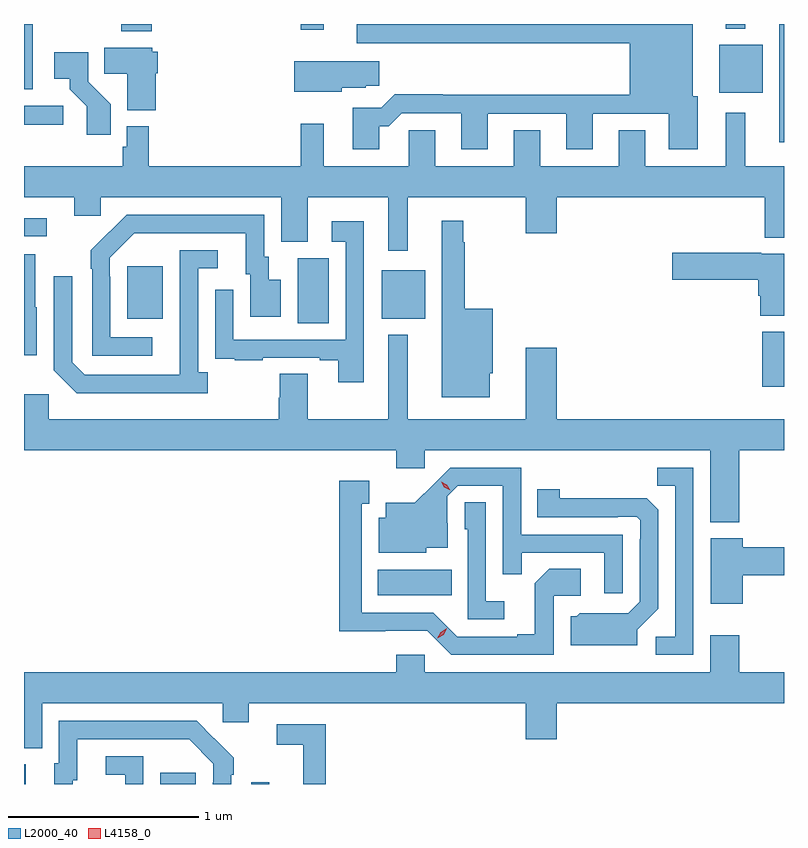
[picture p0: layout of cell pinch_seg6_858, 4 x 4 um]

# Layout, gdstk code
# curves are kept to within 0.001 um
import gdstk
lib = gdstk.Library(unit=1e-6, precision=1e-09)
def R(c, l, rs):  # rectangles x0, y0, x1, y1
    for r in rs: c.add(gdstk.rectangle(r[:2], r[2:], *l))
def P(c, l, *ps):  # polygons
    for p in ps: c.add(gdstk.Polygon(p, *l))
L2000_40 = (2000, 40)
L4158_0 = (4158, 0)

pinch_seg6_858 = lib.new_cell('pinch_seg6_858')
R(pinch_seg6_858, L2000_40, [(138.392,917.608,138.4,917.712), (139.109,917.608,139.297,917.668), (139.587,917.608,139.683,917.617), (140.255,918.602,140.642,918.736), (142.277,919.698,142.392,919.987), (139.832,920.032,139.996,920.376), (138.935,920.057,139.123,920.332), (140.276,920.057,140.503,920.311), (138.392,920.49,138.511,920.586), (142.367,920.985,142.392,921.608), (138.392,921.079,138.598,921.177), (142.052,921.245,142.279,921.499), (138.392,921.264,138.439,921.608), (138.904,921.569,139.064,921.608), (139.848,921.579,139.969,921.608), (142.085,921.584,142.189,921.608)])
P(pinch_seg6_858, L2000_40, [(140.263,921.071),(140.312,921.071),(140.379,921.138),(140.693,921.138),(140.693,920.949),(140.833,920.949),(140.833,921.135),(141.245,921.135),(141.245,920.949),(141.385,920.949),(141.385,921.135),(141.785,921.135),(141.785,920.949),(141.937,920.949),(141.937,921.228),(141.913,921.228),(141.913,921.608),(140.144,921.608),(140.144,921.506),(141.581,921.506),(141.581,921.236),(140.597,921.236),(140.597,921.239),(140.342,921.239),(140.271,921.168),(140.123,921.168),(140.123,920.949),(140.263,920.949)],
  [(139.085,921.348),(139.097,921.348),(139.097,921.462),(139.068,921.462),(139.068,921.484),(138.814,921.484),(138.814,921.346),(138.935,921.346),(138.935,921.155),(139.085,921.155)],
  [(138.848,921.186),(138.729,921.305),(138.729,921.46),(138.552,921.46),(138.552,921.32),(138.632,921.32),(138.632,921.265),(138.723,921.175),(138.723,921.024),(138.848,921.024)],
  [(140.064,921.272),(140.19,921.272),(140.19,921.283),(140.263,921.283),(140.263,921.412),(139.814,921.412),(139.814,921.251),(140.064,921.251)],
  [(140.413,920.696),(141.032,920.696),(141.032,920.508),(141.196,920.508),(141.196,920.696),(142.291,920.696),(142.291,920.483),(142.392,920.483),(142.392,920.86),(142.189,920.86),(142.189,921.142),(142.085,921.142),(142.085,920.86),(141.661,920.86),(141.661,921.05),(141.521,921.05),(141.521,920.86),(141.109,920.86),(141.109,921.05),(140.969,921.05),(140.969,920.86),(140.557,920.86),(140.557,921.05),(140.418,921.05),(140.418,920.86),(139.969,920.86),(139.969,921.082),(139.848,921.082),(139.848,920.86),(139.049,920.86),(139.049,921.07),(138.933,921.07),(138.933,920.961),(138.913,920.961),(138.913,920.86),(138.392,920.86),(138.392,920.696),(138.656,920.696),(138.656,920.598),(138.795,920.598),(138.795,920.696),(139.745,920.696),(139.745,920.461),(139.885,920.461),(139.885,920.696),(140.309,920.696),(140.309,920.415),(140.413,920.415)],
  [(139.066,919.959),(138.846,919.959),(138.846,920.279),(138.843,920.279),(138.843,920.379),(138.972,920.508),(139.559,920.508),(139.559,920.292),(139.583,920.292),(139.583,920.067),(139.744,920.067),(139.744,920.263),(139.681,920.263),(139.681,920.382),(139.656,920.382),(139.656,920.604),(138.932,920.604),(138.841,920.513),(138.84,920.514),(138.743,920.416),(138.743,920.321),(138.75,920.321),(138.75,919.863),(139.066,919.863)],
  [(140.842,919.77),(140.86,919.77),(140.86,920.11),(140.713,920.11),(140.713,920.459),(140.705,920.459),(140.705,920.572),(140.591,920.572),(140.591,919.643),(140.842,919.643)],
  [(140.181,920.569),(140.013,920.569),(140.013,920.463),(140.085,920.463),(140.085,919.947),(139.494,919.947),(139.494,920.209),(139.398,920.209),(139.398,919.954),(139.399,919.954),(139.399,919.845),(139.501,919.845),(139.501,919.839),(139.649,919.839),(139.649,919.851),(139.949,919.851),(139.949,919.839),(140.045,919.839),(140.045,919.722),(140.181,919.722)],
  [(139.36,919.774),(139.308,919.774),(139.308,920.322),(139.411,920.322),(139.411,920.418),(139.212,920.418),(139.211,919.761),(138.711,919.761),(138.645,919.827),(138.645,920.281),(138.549,920.281),(138.549,919.785),(138.67,919.664),(139.36,919.664)],
  [(142.392,920.398),(142.272,920.398),(142.272,920.403),(141.804,920.403),(141.804,920.261),(142.256,920.261),(142.256,920.177),(142.268,920.177),(142.268,920.072),(142.392,920.072)],
  [(138.46,920.118),(138.451,920.118),(138.451,920.395),(138.392,920.395),(138.392,919.865),(138.46,919.865)],
  [(142.157,919.364),(142.392,919.364),(142.392,919.528),(141.196,919.528),(141.196,919.903),(141.032,919.903),(141.032,919.528),(140.413,919.528),(140.413,919.972),(140.309,919.972),(140.309,919.528),(139.885,919.528),(139.885,919.766),(139.738,919.766),(139.738,919.641),(139.733,919.641),(139.733,919.528),(138.522,919.528),(138.522,919.66),(138.392,919.66),(138.392,919.364),(140.351,919.364),(140.351,919.269),(140.502,919.269),(140.502,919.364),(142.004,919.364),(142.004,918.986),(142.157,918.986)],
  [(141.543,918.921),(141.009,918.921),(141.009,919.272),(140.636,919.272),(140.449,919.087),(140.297,919.087),(140.297,919.009),(140.258,919.009),(140.258,918.824),(140.508,918.824),(140.508,918.851),(140.623,918.851),(140.623,918.98),(140.619,918.98),(140.619,919.122),(140.676,919.179),(140.913,919.179),(140.913,918.712),(141.011,918.712),(141.011,918.825),(141.447,918.825),(141.447,918.612),(141.543,918.612)],
  [(141.915,919.272),(141.724,919.272),(141.724,919.177),(141.819,919.177),(141.819,918.384),(141.717,918.384),(141.717,918.288),(141.915,918.288)],
  [(141.18,918.6),(141.322,918.6),(141.322,918.74),(141.157,918.74),(141.081,918.664),(141.081,918.397),(140.987,918.397),(140.987,918.384),(140.673,918.384),(140.547,918.51),(140.17,918.51),(140.17,919.083),(140.209,919.083),(140.209,919.204),(140.052,919.204),(140.052,918.413),(140.514,918.414),(140.64,918.288),(141.18,918.288)],
  [(141.619,918.42),(141.729,918.53),(141.729,919.052),(141.67,919.111),(141.213,919.112),(141.213,919.159),(141.094,919.159),(141.094,919.011),(141.518,919.011),(141.518,919.014),(141.618,919.014),(141.636,918.996),(141.636,918.896),(141.633,918.896),(141.633,918.567),(141.573,918.507),(141.316,918.508),(141.3,918.492),(141.269,918.492),(141.269,918.338),(141.619,918.338)],
  [(140.92,918.571),(140.823,918.571),(140.823,919.091),(140.712,919.091),(140.712,918.948),(140.727,918.948),(140.727,918.474),(140.92,918.474)],
  [(142.174,918.707),(142.392,918.707),(142.392,918.854),(142.174,918.854),(142.174,918.901),(142.007,918.901),(142.007,918.558),(142.174,918.558)],
  [(138.487,918.032),(139.437,918.032),(139.437,917.934),(139.576,917.934),(139.576,918.032),(141.032,918.032),(141.032,917.844),(141.196,917.844),(141.196,918.032),(142.392,918.032),(142.392,918.196),(142.157,918.196),(142.157,918.391),(142.004,918.391),(142.004,918.196),(140.502,918.196),(140.502,918.289),(140.351,918.289),(140.351,918.196),(138.392,918.196),(138.392,917.797),(138.487,917.797)],
  [(138.649,917.628),(138.673,917.628),(138.673,917.844),(139.261,917.844),(139.389,917.715),(139.389,917.615),(139.386,917.615),(139.386,917.608),(139.482,917.608),(139.482,917.657),(139.497,917.657),(139.497,917.745),(139.3,917.94),(138.576,917.94),(138.576,917.718),(138.551,917.718),(138.551,917.608),(138.649,917.608)],
  [(139.979,917.922),(139.722,917.922),(139.722,917.814),(139.862,917.814),(139.862,917.608),(139.979,917.608)],
  [(139.02,917.754),(138.822,917.754),(138.822,917.658),(138.924,917.658),(138.924,917.608),(139.02,917.608)])
P(pinch_seg6_858, L4158_0, [(140.635,919.154),(140.604,919.17),(140.587,919.2),(140.587,919.2),(140.588,919.2),(140.618,919.184),(140.635,919.155),(140.635,919.154)],
  [(140.568,918.374),(140.568,918.375),(140.585,918.407),(140.616,918.427),(140.617,918.427),(140.617,918.427),(140.6,918.394),(140.568,918.374)])

lib.write_gds('pinch_seg6_858.gds')
